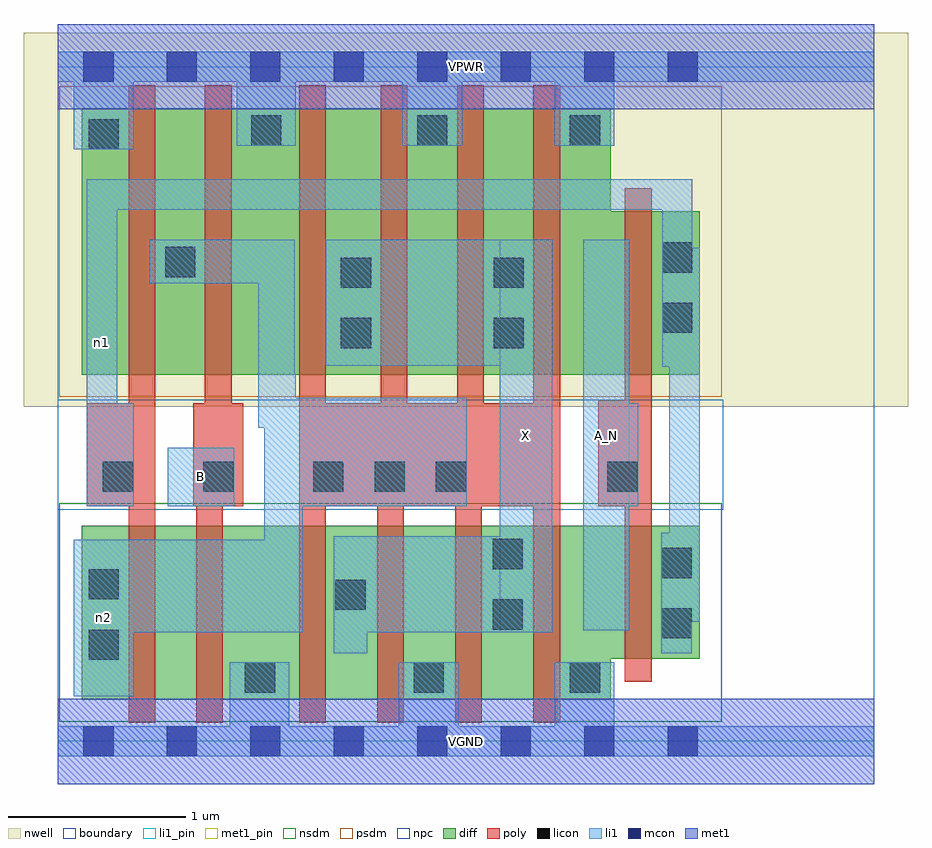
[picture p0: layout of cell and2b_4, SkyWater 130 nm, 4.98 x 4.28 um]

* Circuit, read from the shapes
.subckt and2b_4 A_N B VGND VPWR X n1 n2
XM1 n3 n1 n2 VSUBS sky130_fd_pr__nfet_01v8 w=0.98 l=0.15
XM2 VGND B n3 VSUBS sky130_fd_pr__nfet_01v8 w=0.98 l=0.15
XM3 X n2 VGND VSUBS sky130_fd_pr__nfet_01v8 w=0.98 l=0.15 m=4
XM4 n1 A_N VGND VSUBS sky130_fd_pr__nfet_01v8 w=0.75 l=0.15
XM5 n2 n1 VPWR n4 sky130_fd_pr__pfet_01v8 w=1.5 l=0.15
XM6 VPWR B n2 n4 sky130_fd_pr__pfet_01v8 w=1.5 l=0.15
XM7 X n2 VPWR n4 sky130_fd_pr__pfet_01v8 w=1.5 l=0.15 m=4
XM8 n1 A_N VPWR n4 sky130_fd_pr__pfet_01v8 w=0.92 l=0.15
.ends

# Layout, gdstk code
import gdstk
lib = gdstk.Library(unit=1e-6, precision=1e-09)
def R(c, l, rs):  # rectangles x0, y0, x1, y1
    for r in rs: c.add(gdstk.rectangle(r[:2], r[2:], *l))
def A(c, l, x, y, w, h, nx, ny, dx, dy):  # array of equal rectangles
    R(c, l, [(x+i*dx, y+j*dy, x+i*dx+w, y+j*dy+h) for i in range(nx) for j in range(ny)])
nwell = (64, 20)
diff = (65, 20)
poly = (66, 20)
licon = (66, 44)
li1_pin = (67, 16)
li1 = (67, 20)
mcon = (67, 44)
met1_pin = (68, 16)
met1 = (68, 20)
nsdm = (93, 44)
psdm = (94, 20)
npc = (95, 20)
boundary = (235, 4)

and2b_4 = lib.new_cell('and2b_4')
R(and2b_4, nwell, [(-0.19,1.885,4.79,3.99), (0,1.885,4.6,3.99)])
R(and2b_4, diff, [(0.135,0.235,3.115,1.215), (0.135,0.465,3.615,1.215), (0.135,2.065,3.115,3.565), (0.135,2.065,3.615,2.985)])
R(and2b_4, poly, [(0.4,0.105,0.55,3.695), (0.78,0.105,0.93,1.905), (1.36,0.105,1.51,3.695), (1.8,0.105,1.95,1.905), (2.24,0.105,2.39,1.905), (2.68,0.105,2.83,3.695), (3.195,0.335,3.345,3.115), (0.165,1.325,0.55,1.905), (0.765,1.325,1.045,1.905), (0.83,1.325,0.98,3.695), (1.36,1.325,2.83,1.905), (1.82,1.325,1.97,3.695), (2.25,1.325,2.4,3.695), (3.045,1.325,3.345,1.92)])
A(and2b_4, licon, 1.44, 1.405, 0.17, 0.17, 3, 1, 0.345, 0)
R(and2b_4, licon, [(1.055,0.275,1.225,0.445), (2.005,0.275,2.175,0.445), (2.885,0.275,3.055,0.445), (0.175,0.46,0.345,0.63), (3.4,0.58,3.57,0.75), (2.45,0.63,2.62,0.8), (1.565,0.74,1.735,0.91), (0.175,0.8,0.345,0.97), (3.4,0.92,3.57,1.09), (2.45,0.97,2.62,1.14), (0.255,1.405,0.425,1.575), (0.82,1.405,0.99,1.575), (3.095,1.405,3.265,1.575), (1.595,2.215,1.765,2.385), (2.455,2.215,2.625,2.385), (3.405,2.3,3.575,2.47), (1.595,2.555,1.765,2.725), (2.455,2.555,2.625,2.725), (0.605,2.615,0.775,2.785), (3.405,2.64,3.575,2.81), (0.175,3.335,0.345,3.505), (1.09,3.355,1.26,3.525), (2.025,3.355,2.195,3.525), (2.885,3.355,3.055,3.525)])
R(and2b_4, li1_pin, [(2.49,0.615,2.785,2.825), (2.96,0.625,3.22,2.825), (0.62,1.325,0.995,1.655)])
R(and2b_4, li1, [(0,-0.085,4.6,0.085), (0.97,-0.085,1.305,0.445), (1.92,-0.085,2.26,0.445), (2.8,-0.085,3.135,0.445), (0.09,0.255,0.43,1.135), (1.555,0.495,1.745,1.155), (3.4,0.495,3.57,1.175), (0.09,0.615,1.38,1.135), (1.165,0.615,1.335,2.825), (1.165,0.615,1.38,1.935), (1.165,0.615,1.34,2.065), (1.555,0.615,2.785,1.155), (2.49,0.615,2.785,2.825), (2.96,0.625,3.22,2.825), (3.445,0.675,3.615,2.78), (0.165,1.325,0.335,3.165), (0.165,1.325,0.43,1.905), (0.62,1.325,0.995,1.655), (1.165,1.325,2.305,1.935), (2.96,1.325,3.27,1.905), (1.13,1.765,1.335,2.58), (3.405,2.11,3.575,3.165), (1.51,2.115,2.785,2.825), (0.52,2.58,1.335,2.825), (0.165,2.995,3.575,3.165), (0.09,3.335,0.43,3.885), (1.01,3.355,1.34,3.885), (1.94,3.355,2.28,3.885), (2.8,3.355,3.135,3.885), (0,3.715,4.6,3.885)])
A(and2b_4, mcon, 0.145, -0.085, 0.17, 0.17, 8, 2, 0.47, 3.8)
R(and2b_4, met1_pin, [(0,-0.24,4.6,0.24), (0,3.56,4.6,4.04)])
R(and2b_4, met1, [(0,-0.24,4.6,0.24), (0,3.56,4.6,4.04)])
R(and2b_4, nsdm, [(0.01,0.11,3.74,1.34)])
R(and2b_4, psdm, [(0.01,1.94,3.74,3.69)])
R(and2b_4, npc, [(0,1.305,3.75,1.925)])
R(and2b_4, boundary, [(0,0,4.6,3.8)])
and2b_4.add(gdstk.Label('A_N', (3.09,1.725), layer=67, texttype=5))
and2b_4.add(gdstk.Label('B', (0.807,1.49), layer=67, texttype=5))
and2b_4.add(gdstk.Label('X', (2.637,1.72), layer=67, texttype=5))
and2b_4.add(gdstk.Label('n2', (0.26,0.695), layer=67, texttype=5))
and2b_4.add(gdstk.Label('n1', (0.25,2.245), layer=67, texttype=5))
and2b_4.add(gdstk.Label('VPWR', (2.3,3.8), layer=68, texttype=5))
and2b_4.add(gdstk.Label('VGND', (2.3,0), layer=68, texttype=5))
and2b_4.add(gdstk.Label('A_N', (3.09,1.725), layer=67, texttype=16))
and2b_4.add(gdstk.Label('B', (0.807,1.49), layer=67, texttype=16))
and2b_4.add(gdstk.Label('X', (2.637,1.72), layer=67, texttype=16))
and2b_4.add(gdstk.Label('VPWR', (2.3,3.8), layer=68, texttype=16))
and2b_4.add(gdstk.Label('VGND', (2.3,0), layer=68, texttype=16))

lib.write_gds('and2b_4.gds')
